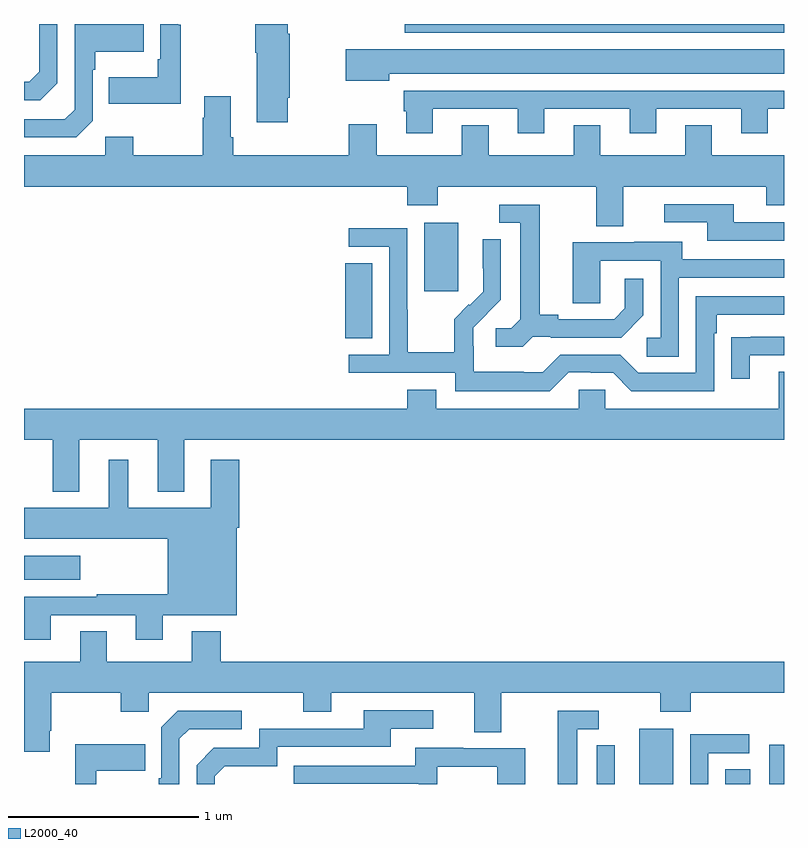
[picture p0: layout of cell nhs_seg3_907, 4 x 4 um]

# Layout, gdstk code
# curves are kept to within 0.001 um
import gdstk
lib = gdstk.Library(unit=1e-6, precision=1e-09)
def R(c, l, rs):  # rectangles x0, y0, x1, y1
    for r in rs: c.add(gdstk.rectangle(r[:2], r[2:], *l))
def P(c, l, *ps):  # polygons
    for p in ps: c.add(gdstk.Polygon(p, *l))
L2000_40 = (2000, 40)

nhs_seg3_907 = lib.new_cell('nhs_seg3_907')
R(nhs_seg3_907, L2000_40, [(160.238,736.4,160.417,736.69), (160.691,736.4,160.822,736.478), (160.922,736.4,161,736.606), (157,737.474,157.297,737.602), (158.69,738.745,158.833,739.142), (159.107,738.993,159.286,739.354), (159.005,740.354,161,740.4)])
P(nhs_seg3_907, L2000_40, [(157.825,740.395),(157.813,740.395),(157.813,740.4),(157.716,740.4),(157.716,740.215),(157.704,740.215),(157.704,740.119),(157.447,740.119),(157.447,739.979),(157.825,739.979)],
  [(158.388,740.013),(158.398,740.013),(158.398,740.349),(158.388,740.349),(158.388,740.4),(158.218,740.4),(158.218,740.249),(158.225,740.249),(158.225,739.884),(158.388,739.884)],
  [(157.176,740.088),(157.176,740.4),(157.08,740.4),(157.08,740.148),(157.027,740.095),(157,740.095),(157,739.998),(157.086,739.998)],
  [(157.362,739.89),(157.362,740.159),(157.375,740.159),(157.375,740.255),(157.631,740.255),(157.631,740.4),(157.266,740.4),(157.266,739.95),(157.215,739.899),(157,739.899),(157,739.803),(157.275,739.803)],
  [(158.923,740.138),(161,740.138),(161,740.266),(158.694,740.266),(158.694,740.102),(158.923,740.102)],
  [(159.151,739.953),(159.599,739.953),(159.599,739.824),(159.739,739.824),(159.739,739.953),(160.187,739.953),(160.187,739.824),(160.327,739.824),(160.327,739.953),(160.775,739.953),(160.775,739.824),(160.915,739.824),(160.915,739.953),(161,739.953),(161,740.049),(158.999,740.049),(158.999,739.941),(159.011,739.941),(159.011,739.824),(159.151,739.824)],
  [(160.153,739.544),(160.907,739.544),(160.907,739.445),(161,739.445),(161,739.708),(160.621,739.708),(160.621,739.868),(160.481,739.868),(160.481,739.708),(160.033,739.708),(160.033,739.868),(159.893,739.868),(159.893,739.708),(159.445,739.708),(159.445,739.868),(159.305,739.868),(159.305,739.708),(158.857,739.708),(158.857,739.873),(158.71,739.873),(158.71,739.708),(158.102,739.708),(158.102,739.804),(158.089,739.804),(158.089,740.02),(157.949,740.02),(157.949,739.907),(157.942,739.907),(157.942,739.708),(157.575,739.708),(157.575,739.807),(157.428,739.807),(157.428,739.708),(157,739.708),(157,739.544),(159.017,739.544),(159.017,739.445),(159.177,739.445),(159.177,739.544),(160.013,739.544),(160.013,739.336),(160.153,739.336)],
  [(161,739.356),(160.735,739.356),(160.735,739.452),(160.371,739.452),(160.371,739.356),(160.595,739.356),(160.595,739.26),(161,739.26)],
  [(159.678,738.753),(159.772,738.753),(159.772,738.75),(160.144,738.75),(160.26,738.866),(160.26,739.06),(160.163,739.06),(160.163,738.903),(160.106,738.846),(159.811,738.846),(159.811,738.869),(159.715,738.869),(159.715,739.449),(159.501,739.449),(159.501,739.353),(159.611,739.353),(159.611,738.845),(159.564,738.798),(159.483,738.798),(159.483,738.701),(159.626,738.701)],
  [(159.867,738.567),(159.983,738.567),(159.983,738.564),(160.101,738.564),(160.197,738.468),(160.632,738.468),(160.632,738.773),(160.645,738.773),(160.645,738.87),(161,738.87),(161,738.966),(160.536,738.966),(160.536,738.564),(160.233,738.564),(160.137,738.66),(159.822,738.66),(159.729,738.567),(159.629,738.567),(159.629,738.571),(159.366,738.571),(159.366,738.705),(159.364,738.705),(159.364,738.802),(159.51,738.95),(159.51,739.268),(159.414,739.268),(159.414,739.114),(159.416,739.114),(159.416,738.992),(159.345,738.921),(159.342,738.924),(159.265,738.847),(159.265,738.673),(159.021,738.673),(159.021,738.896),(159.018,738.896),(159.018,739.326),(158.709,739.326),(158.709,739.227),(158.922,739.227),(158.922,738.66),(158.709,738.66),(158.709,738.564),(159.27,738.564),(159.27,738.467),(159.767,738.467)],
  [(160.446,739.065),(161,739.065),(161,739.161),(160.465,739.161),(160.465,739.255),(160.211,739.255),(160.211,739.251),(159.887,739.251),(159.887,738.931),(160.032,738.931),(160.032,739.155),(160.35,739.155),(160.35,738.75),(160.278,738.75),(160.278,738.649),(160.446,738.649)],
  [(160.819,738.657),(161,738.657),(161,738.753),(160.825,738.753),(160.825,738.752),(160.723,738.752),(160.723,738.534),(160.819,738.534)],
  [(157.291,738.212),(157.703,738.212),(157.703,737.939),(157.843,737.939),(157.843,738.212),(161,738.212),(161,738.571),(160.973,738.571),(160.973,738.376),(160.059,738.376),(160.059,738.474),(159.921,738.474),(159.921,738.376),(159.169,738.376),(159.169,738.475),(159.017,738.475),(159.017,738.376),(157,738.376),(157,738.212),(157.151,738.212),(157.151,737.939),(157.291,737.939)],
  [(157.141,737.289),(157.589,737.289),(157.589,737.16),(157.729,737.16),(157.729,737.288),(158.119,737.288),(158.119,737.75),(158.132,737.75),(158.132,738.106),(157.982,738.106),(157.982,737.854),(157.549,737.854),(157.549,738.106),(157.445,738.106),(157.445,737.854),(157,737.854),(157,737.69),(157.757,737.69),(157.757,737.398),(157.384,737.398),(157.384,737.385),(157,737.385),(157,737.289),(157.001,737.289),(157.001,737.16),(157.141,737.16)],
  [(157.135,736.681),(157.143,736.681),(157.143,736.88),(157.51,736.88),(157.51,736.781),(157.656,736.781),(157.656,736.88),(158.47,736.88),(158.47,736.781),(158.617,736.781),(158.617,736.88),(159.371,736.88),(159.371,736.672),(159.511,736.672),(159.511,736.88),(160.348,736.88),(160.348,736.781),(160.508,736.781),(160.508,736.88),(161,736.88),(161,737.044),(158.036,737.044),(158.036,737.203),(157.883,737.203),(157.883,737.044),(157.435,737.044),(157.435,737.204),(157.295,737.204),(157.295,737.044),(157,737.044),(157,736.569),(157.135,736.569)],
  [(158.004,736.44),(158.057,736.493),(158.334,736.493),(158.334,736.596),(158.929,736.596),(158.929,736.692),(159.154,736.692),(159.154,736.788),(158.789,736.788),(158.789,736.692),(158.238,736.692),(158.238,736.59),(157.998,736.59),(157.908,736.5),(157.908,736.4),(158.004,736.4)],
  [(159.913,736.689),(160.024,736.689),(160.024,736.785),(159.809,736.785),(159.809,736.4),(159.913,736.4)],
  [(157.818,736.638),(157.869,736.689),(158.146,736.689),(158.146,736.785),(157.809,736.785),(157.722,736.698),(157.722,736.429),(157.71,736.429),(157.71,736.4),(157.818,736.4)],
  [(160.602,736.563),(160.816,736.563),(160.816,736.662),(160.506,736.662),(160.506,736.4),(160.602,736.4)],
  [(157.381,736.469),(157.637,736.469),(157.637,736.609),(157.271,736.609),(157.271,736.4),(157.381,736.4)],
  [(160.109,736.45),(160.11,736.45),(160.11,736.604),(160.014,736.604),(160.014,736.4),(160.109,736.4)],
  [(159.174,736.491),(159.492,736.491),(159.492,736.4),(159.637,736.4),(159.637,736.587),(159.313,736.587),(159.313,736.591),(159.059,736.591),(159.059,736.497),(158.419,736.497),(158.419,736.401),(159.078,736.401),(159.078,736.4),(159.174,736.4)])

lib.write_gds('nhs_seg3_907.gds')
